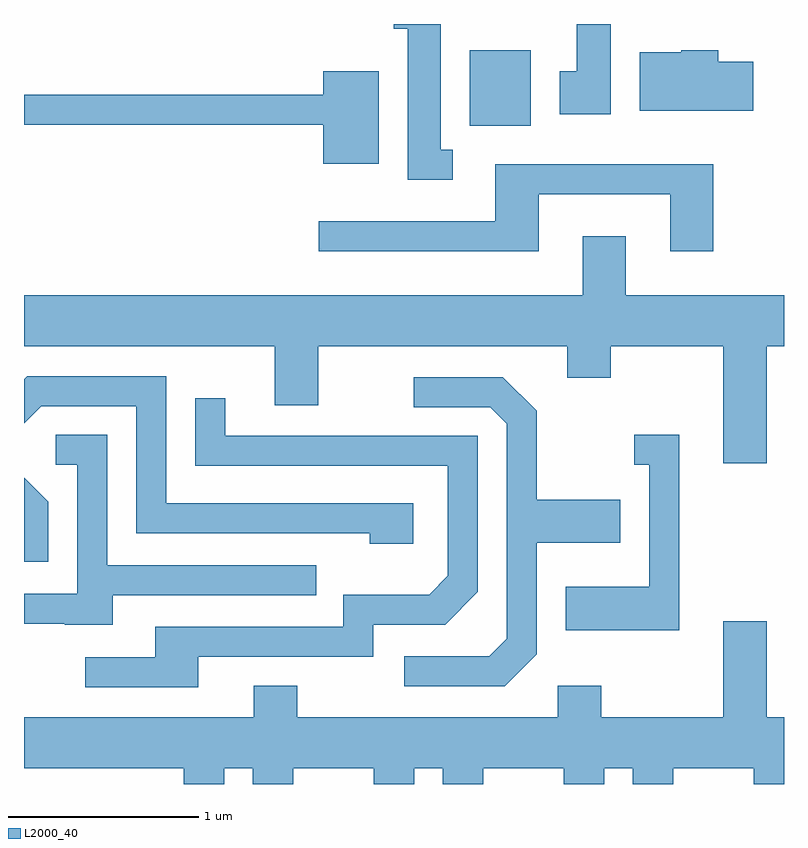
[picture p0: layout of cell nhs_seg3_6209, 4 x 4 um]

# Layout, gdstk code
import gdstk
lib = gdstk.Library(unit=1e-6, precision=1e-09)
def R(c, l, rs):  # rectangles x0, y0, x1, y1
    for r in rs: c.add(gdstk.rectangle(r[:2], r[2:], *l))
def P(c, l, *ps):  # polygons
    for p in ps: c.add(gdstk.Polygon(p, *l))
L2000_40 = (2000, 40)

nhs_seg3_6209 = lib.new_cell('nhs_seg3_6209')
R(nhs_seg3_6209, L2000_40, [(369.956,1169.356,370.279,1169.754)])
P(nhs_seg3_6209, L2000_40, [(369.868,1169.229),(369.804,1169.229),(369.804,1169.892),(369.556,1169.892),(369.556,1169.866),(369.631,1169.866),(369.631,1169.071),(369.868,1169.071)],
  [(370.699,1169.892),(370.521,1169.892),(370.521,1169.644),(370.431,1169.644),(370.431,1169.416),(370.699,1169.416)],
  [(371.449,1169.694),(371.264,1169.694),(371.264,1169.754),(371.07,1169.754),(371.07,1169.744),(370.851,1169.744),(370.851,1169.436),(371.449,1169.436)],
  [(369.479,1169.644),(369.186,1169.644),(369.186,1169.519),(367.611,1169.519),(367.611,1169.361),(369.186,1169.361),(369.186,1169.156),(369.479,1169.156)],
  [(370.319,1168.996),(371.011,1168.996),(371.011,1168.696),(371.239,1168.696),(371.239,1169.154),(370.091,1169.154),(370.091,1168.854),(369.163,1168.854),(369.163,1168.696),(370.319,1168.696)],
  [(371.519,1168.196),(371.611,1168.196),(371.611,1168.464),(370.779,1168.464),(370.779,1168.774),(370.551,1168.774),(370.551,1168.464),(367.611,1168.464),(367.611,1168.196),(368.931,1168.196),(368.931,1167.886),(369.159,1167.886),(369.159,1168.196),(370.471,1168.196),(370.471,1168.031),(370.699,1168.031),(370.699,1168.196),(371.291,1168.196),(371.291,1167.581),(371.519,1167.581)],
  [(369.659,1167.369),(368.359,1167.369),(368.359,1168.039),(367.629,1168.039),(367.611,1168.021),(367.611,1167.79),(367.702,1167.881),(368.201,1167.881),(368.201,1167.211),(369.431,1167.211),(369.431,1167.156),(369.659,1167.156)],
  [(370.309,1166.574),(370.309,1167.161),(370.749,1167.161),(370.749,1167.389),(370.309,1167.389),(370.309,1167.857),(370.132,1168.034),(369.663,1168.034),(369.663,1167.876),(370.064,1167.876),(370.151,1167.789),(370.151,1166.657),(370.059,1166.564),(369.613,1166.564),(369.613,1166.406),(370.142,1166.406)],
  [(368.529,1166.561),(369.449,1166.561),(369.449,1166.731),(369.827,1166.731),(369.999,1166.904),(369.999,1167.724),(368.669,1167.724),(368.669,1167.923),(368.511,1167.923),(368.511,1167.566),(369.841,1167.566),(369.841,1166.987),(369.744,1166.889),(369.291,1166.889),(369.291,1166.719),(368.301,1166.719),(368.301,1166.559),(367.933,1166.559),(367.933,1166.401),(368.529,1166.401)],
  [(371.059,1167.729),(370.823,1167.729),(370.823,1167.571),(370.901,1167.571),(370.901,1166.929),(370.461,1166.929),(370.461,1166.701),(371.059,1166.701)],
  [(368.079,1166.886),(369.148,1166.886),(369.148,1167.044),(368.049,1167.044),(368.049,1167.729),(367.778,1167.729),(367.778,1167.571),(367.891,1167.571),(367.891,1166.894),(367.611,1166.894),(367.611,1166.736),(367.825,1166.736),(367.825,1166.731),(368.079,1166.731)],
  [(367.739,1167.377),(367.611,1167.505),(367.611,1167.063),(367.739,1167.063)],
  [(368.664,1165.976),(368.816,1165.976),(368.816,1165.892),(369.029,1165.892),(369.029,1165.976),(369.451,1165.976),(369.451,1165.892),(369.664,1165.892),(369.664,1165.976),(369.816,1165.976),(369.816,1165.892),(370.029,1165.892),(370.029,1165.976),(370.451,1165.976),(370.451,1165.892),(370.664,1165.892),(370.664,1165.976),(370.816,1165.976),(370.816,1165.892),(371.029,1165.892),(371.029,1165.976),(371.451,1165.976),(371.451,1165.892),(371.611,1165.892),(371.611,1166.244),(371.519,1166.244),(371.519,1166.749),(371.291,1166.749),(371.291,1166.244),(370.649,1166.244),(370.649,1166.409),(370.421,1166.409),(370.421,1166.244),(369.049,1166.244),(369.049,1166.409),(368.821,1166.409),(368.821,1166.244),(367.611,1166.244),(367.611,1165.976),(368.451,1165.976),(368.451,1165.892),(368.664,1165.892)])

lib.write_gds('nhs_seg3_6209.gds')
